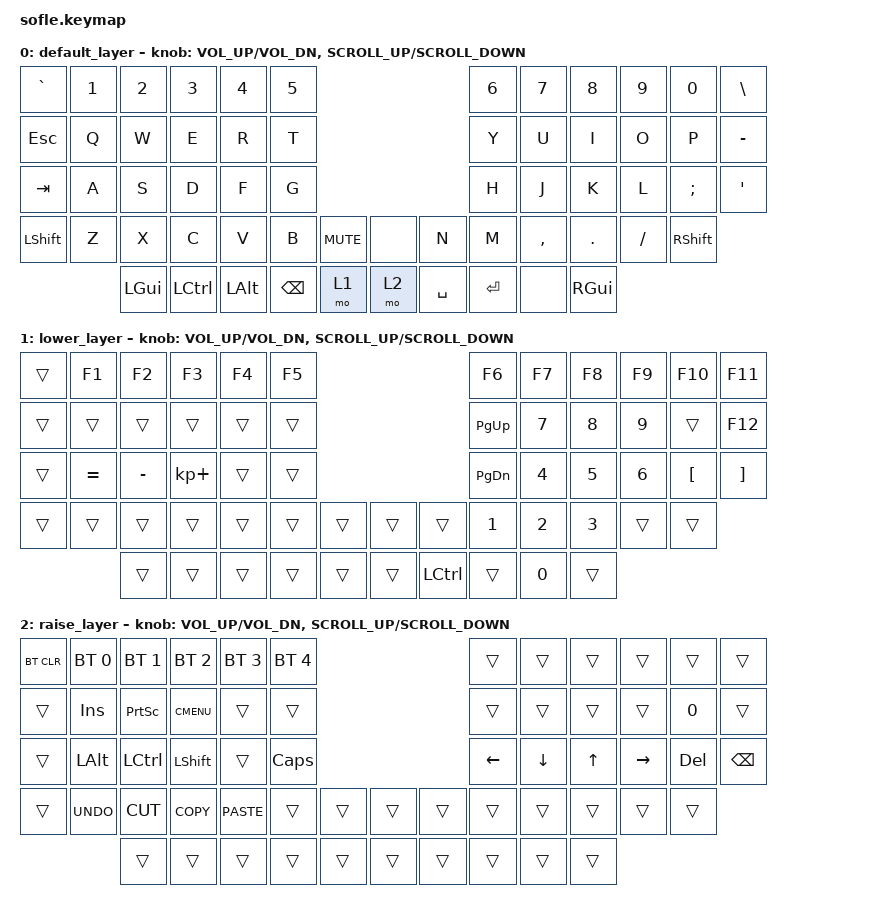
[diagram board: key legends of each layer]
#include <behaviors.dtsi>
#include <dt-bindings/zmk/keys.h>
#include <dt-bindings/zmk/bt.h>

/ {
    keymap {
        compatible = "zmk,keymap";

        default_layer {
// -------------------------------------------------------------------------------------------------------------
// |  `    |  1  |  2  |  3   |  4   |  5    |                  |  6    |  7    |  8    |  9   |   0   |   \   |
// |  ESC  |  Q  |  W  |  E   |  R   |  T    |                  |  Y    |  U    |  I    |  O   |   P   |   -   |
// |  TAB  |  A  |  S  |  D   |  F   |  G    |                  |  H    |  J    |  K    |  L   |   ;   |   '   |
// | SHIFT |  Z  |  X  |  C   |  V   |  B    |  MUTE |  |       |  N    |  M    |  ,    |  .   |   /   | SHIFT |
//               | GUI | CTRL | ALT  | BKSPC | LOWER |  | RAISE | SPACE | ENTER |       | GUI  |
            bindings = <
&kp GRAVE &kp N1 &kp N2   &kp N3    &kp N4   &kp N5                                  &kp N6    &kp N7    &kp N8    &kp N9   &kp N0   &kp BSLH
&kp ESC   &kp Q  &kp W    &kp E     &kp R    &kp T                                   &kp Y     &kp U     &kp I     &kp O    &kp P    &kp MINUS
&kp TAB   &kp A  &kp S    &kp D     &kp F    &kp G                                   &kp H     &kp J     &kp K     &kp L    &kp SEMI &kp SQT
&kp LSHFT &kp Z  &kp X    &kp C     &kp V    &kp B    &kp C_MUTE   &none   &kp N     &kp M     &kp COMMA &kp DOT  &kp FSLH &kp RSHFT
                 &kp LGUI &kp LCTRL &kp LALT &kp BSPC &mo 1        &mo 2   &kp SPACE &kp RET   &none     &kp RGUI
            >;

            sensor-bindings = <&inc_dec_kp C_VOL_UP C_VOL_DN &inc_dec_kp K_SCROLL_UP K_SCROLL_DOWN>;
        };

        lower_layer {
// TODO: Some binds are waiting for shifted keycode support.
// ------------------------------------------------------------------------------------------------------------
// |      |  F1 |  F2 |  F3  |  F4  |  F5  |                   |  F6  |  F7   |  F8   |  F9  |  F10  |  F11  |
// |      |     |     |      |      |      |                   | PGUP |   7   |   8   |   9  |       |  F12  |
// |      |  =  |  -  |  +   |      |      |                   | PGDN |   4   |   5   |   6  |   [   |   ]   |
// |      |     |     |      |      |      |        |  |       |      |   1   |   2   |   3  |       |       |
//              |     |      |      |      |        |  |       | CTRL |       |   0   |      |
            bindings = <
&trans   &kp F1    &kp F2    &kp F3      &kp F4    &kp F5                    &kp F6     &kp F7   &kp F8   &kp F9    &kp F10   &kp F11
&trans   &trans    &trans    &trans      &trans    &trans                    &kp PG_UP  &kp N7   &kp N8   &kp N9    &trans    &kp F12
&trans   &kp EQUAL &kp MINUS &kp KP_PLUS &trans    &trans                    &kp PG_DN  &kp N4   &kp N5   &kp N6    &kp LBKT  &kp RBKT
&trans   &trans    &trans    &trans      &trans    &trans    &trans   &trans &trans     &kp N1   &kp N2   &kp N3    &trans    &trans
                   &trans    &trans      &trans    &trans    &trans   &trans &kp LCTRL  &trans   &kp N0   &trans
            >;

            sensor-bindings = <&inc_dec_kp C_VOL_UP C_VOL_DN &inc_dec_kp K_SCROLL_UP K_SCROLL_DOWN>;
        };

        raise_layer {
// ------------------------------------------------------------------------------------------------------------
// |BTCLR| BT1  | BT2  |  BT3  |  BT4  |  BT5 |                |      |      |       |      |       |       |
// |     | INS  | PSCR | GUI   |       |      |                |      |      |       |      |       |       |
// |     | ALT  | CTRL | SHIFT |       | CAPS |                |  <-  |   v  |   ^   |  ->  |  DEL  | BKSPC |
// |     | UNDO | CUT  | COPY  | PASTE |      |      |  |      |      |      |       |      |       |       |
//              |      |       |       |      |      |  |      |      |      |       |      |
            bindings = <
&bt BT_CLR &bt BT_SEL 0 &bt BT_SEL 1 &bt BT_SEL 2 &bt BT_SEL 3 &bt BT_SEL 4             &trans    &trans    &trans   &trans    &trans  &trans
&trans     &kp INS      &kp PSCRN    &kp K_CMENU  &trans       &trans                   &trans    &trans    &trans   &trans    &kp N0  &trans
&trans     &kp LALT     &kp LCTRL    &kp LSHFT    &trans       &kp CLCK                 &kp LEFT  &kp DOWN  &kp UP &kp RIGHT &kp DEL &kp BSPC
&trans     &kp K_UNDO   &kp K_CUT    &kp K_COPY   &kp K_PASTE  &trans  &trans   &trans  &trans    &trans    &trans   &trans    &trans  &trans
                        &trans       &trans       &trans       &trans  &trans   &trans  &trans    &trans    &trans   &trans
            >;

            sensor-bindings = <&inc_dec_kp C_VOL_UP C_VOL_DN &inc_dec_kp K_SCROLL_UP K_SCROLL_DOWN>;
        };
    };
};
